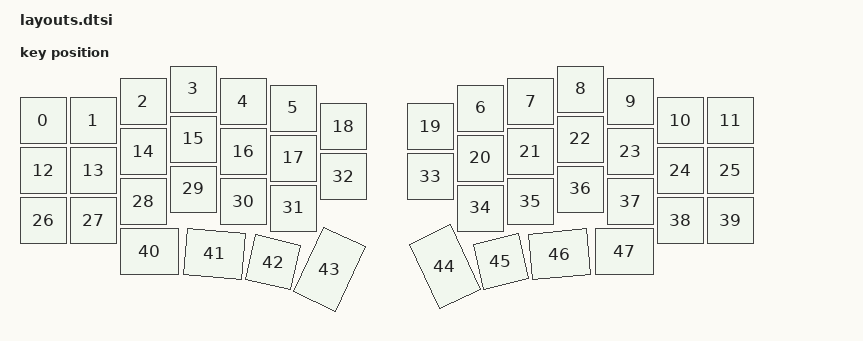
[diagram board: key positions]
#include <physical_layouts.dtsi>

/ {
    physical_layout0: physical_layout0 {
        compatible = "zmk,physical-layout";
        display-name = "Default Layout (Left+Right)";
			transform = <&default_transform>;
			kscan = <&kscan0>;

        keys  //                     w   h    x    y     rot    rx    ry
            = <&key_physical_attrs 100 100    0   63       0     0     0>
            , <&key_physical_attrs 100 100  100   63       0     0     0>
            , <&key_physical_attrs 100 100  200   25       0     0     0>
            , <&key_physical_attrs 100 100  300    0       0     0     0>
            , <&key_physical_attrs 100 100  400   25       0     0     0>
            , <&key_physical_attrs 100 100  500   38       0     0     0>
            , <&key_physical_attrs 100 100  875   38       0     0     0>
            , <&key_physical_attrs 100 100  975   25       0     0     0>
            , <&key_physical_attrs 100 100 1075    0       0     0     0>
            , <&key_physical_attrs 100 100 1175   25       0     0     0>
            , <&key_physical_attrs 100 100 1275   63       0     0     0>
            , <&key_physical_attrs 100 100 1375   63       0     0     0>
            , <&key_physical_attrs 100 100    0  163       0     0     0>
            , <&key_physical_attrs 100 100  100  163       0     0     0>
            , <&key_physical_attrs 100 100  200  125       0     0     0>
            , <&key_physical_attrs 100 100  300  100       0     0     0>
            , <&key_physical_attrs 100 100  400  125       0     0     0>
            , <&key_physical_attrs 100 100  500  138       0     0     0>
            , <&key_physical_attrs 100 100  600   75       0     0     0>
            , <&key_physical_attrs 100 100  775   75       0     0     0>
            , <&key_physical_attrs 100 100  875  138       0     0     0>
            , <&key_physical_attrs 100 100  975  125       0     0     0>
            , <&key_physical_attrs 100 100 1075  100       0     0     0>
            , <&key_physical_attrs 100 100 1175  125       0     0     0>
            , <&key_physical_attrs 100 100 1275  163       0     0     0>
            , <&key_physical_attrs 100 100 1375  163       0     0     0>
            , <&key_physical_attrs 100 100    0  263       0     0     0>
            , <&key_physical_attrs 100 100  100  263       0     0     0>
            , <&key_physical_attrs 100 100  200  225       0     0     0>
            , <&key_physical_attrs 100 100  300  200       0     0     0>
            , <&key_physical_attrs 100 100  400  225       0     0     0>
            , <&key_physical_attrs 100 100  500  238       0     0     0>
            , <&key_physical_attrs 100 100  600  175       0     0     0>
            , <&key_physical_attrs 100 100  775  175       0     0     0>
            , <&key_physical_attrs 100 100  875  238       0     0     0>
            , <&key_physical_attrs 100 100  975  225       0     0     0>
            , <&key_physical_attrs 100 100 1075  200       0     0     0>
            , <&key_physical_attrs 100 100 1175  225       0     0     0>
            , <&key_physical_attrs 100 100 1275  263       0     0     0>
            , <&key_physical_attrs 100 100 1375  263       0     0     0>
            , <&key_physical_attrs 125 100  200  325       0     0     0>
            , <&key_physical_attrs 125 100  335  333     500   425   325>
            , <&key_physical_attrs 100 100  460  350    1300   525   400>
            , <&key_physical_attrs 150 100  525  375 (-6500)   600   400>
            , <&key_physical_attrs 150 100  637  122    6500   600   400>
            , <&key_physical_attrs 100 100  915  360 (-1300)   900   400>
            , <&key_physical_attrs 125 100 1012  390  (-500)   400   320>
            , <&key_physical_attrs 125 100 1150  325       0     0     0>
            ;

    };
};
